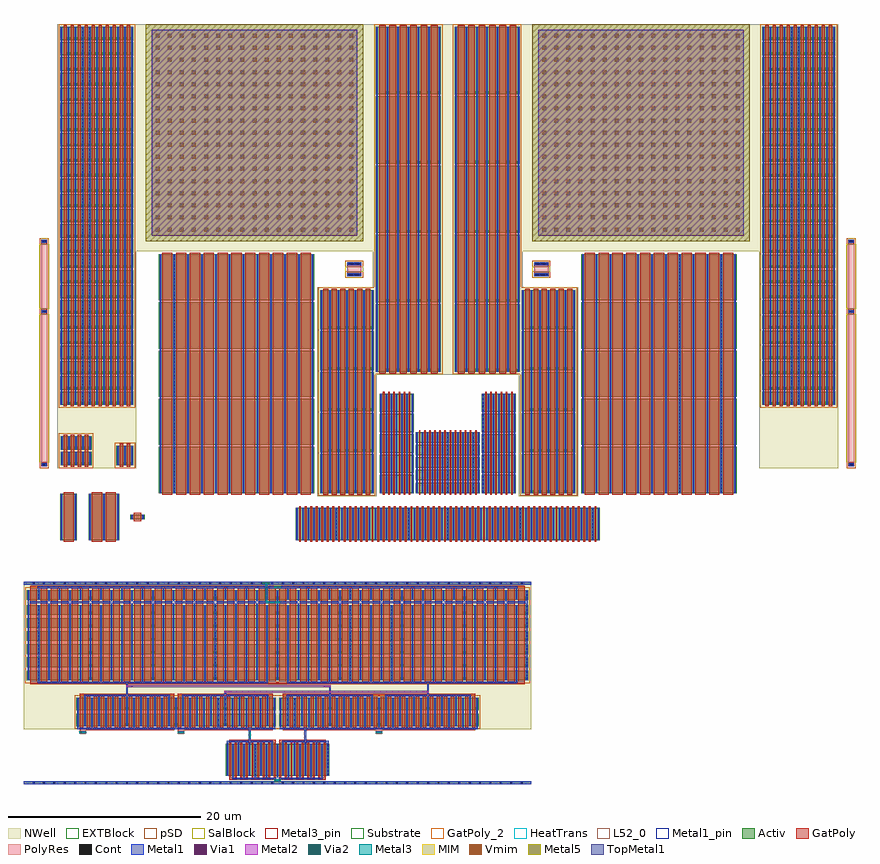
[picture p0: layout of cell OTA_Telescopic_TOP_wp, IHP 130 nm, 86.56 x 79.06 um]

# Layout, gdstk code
import gdstk
lib = gdstk.Library(unit=1e-6, precision=1e-09)
def R(c, l, rs):  # rectangles x0, y0, x1, y1
    for r in rs: c.add(gdstk.rectangle(r[:2], r[2:], *l))
def A(c, l, x, y, w, h, nx, ny, dx, dy):  # array of equal rectangles
    R(c, l, [(x+i*dx, y+j*dy, x+i*dx+w, y+j*dy+h) for i in range(nx) for j in range(ny)])
Activ = (1, 0)
GatPoly = (5, 0)
GatPoly_2 = (5, 2)
Cont = (6, 0)
Metal1 = (8, 0)
Metal1_pin = (8, 2)
Metal2 = (10, 0)
pSD = (14, 0)
Via1 = (19, 0)
SalBlock = (28, 0)
Via2 = (29, 0)
Metal3 = (30, 0)
Metal3_pin = (30, 2)
NWell = (31, 0)
MIM = (36, 0)
Substrate = (40, 0)
HeatTrans = (51, 0)
L52_0 = (52, 0)
Metal5 = (67, 0)
EXTBlock = (111, 0)
TopMetal1 = (126, 0)
PolyRes = (128, 0)
Vmim = (129, 0)

nmos_5 = lib.new_cell('nmos$5')
A(nmos_5, Activ, 0, 0, 0.3, 0.3, 10, 1, 0.58, 0)
R(nmos_5, Activ, [(0,0,5.52,3.33)])
A(nmos_5, GatPoly, 0.34, -0.18, 0.2, 3.69, 9, 1, 0.58, 0)
R(nmos_5, GatPoly_2, [(0.34,-0.18,0.54,3.51)])
A(nmos_5, Cont, 0.07, 0.07, 0.16, 0.16, 10, 2, 0.58, 0.375)
A(nmos_5, Cont, 0.07, 0.825, 0.16, 0.16, 10, 3, 0.58, 0.38)
A(nmos_5, Cont, 0.07, 1.96, 0.16, 0.16, 10, 4, 0.58, 0.38)
A(nmos_5, Metal1, 0.07, 0, 0.16, 3.33, 10, 1, 0.58, 0)
R(nmos_5, Metal1_pin, [(0.07,0,0.23,3.33), (0.65,0,0.81,3.33)])
A(nmos_5, HeatTrans, 0.34, -0.18, 0.2, 3.69, 9, 1, 0.58, 0)
nmos_5.add(gdstk.Label('nmos', (0.44,1.665), layer=63, texttype=0))
nmos_5.add(gdstk.Label('nmos', (0.44,1.665), layer=51, texttype=0))
nmos_5.add(gdstk.Label('nmos', (1.02,1.665), layer=51, texttype=0))
nmos_5.add(gdstk.Label('nmos', (1.6,1.665), layer=51, texttype=0))
nmos_5.add(gdstk.Label('nmos', (2.18,1.665), layer=51, texttype=0))
nmos_5.add(gdstk.Label('nmos', (2.76,1.665), layer=51, texttype=0))
nmos_5.add(gdstk.Label('nmos', (3.34,1.665), layer=51, texttype=0))
nmos_5.add(gdstk.Label('nmos', (3.92,1.665), layer=51, texttype=0))
nmos_5.add(gdstk.Label('nmos', (4.5,1.665), layer=51, texttype=0))
nmos_5.add(gdstk.Label('nmos', (5.08,1.665), layer=51, texttype=0))

c_m0 = lib.new_cell('M0')
r = gdstk.Reference(nmos_5, (-0.44,-0.155)); r.repetition = gdstk.Repetition(6, 1, v1=(5.22,0), v2=(0,0)); c_m0.add(r)

pmos_2 = lib.new_cell('pmos$2')
R(pmos_2, Activ, [(0,0,0.3,0.3), (0,0,1.18,4.05), (0.88,0,1.18,0.3)])
R(pmos_2, GatPoly, [(0.34,-0.18,0.84,4.23), (0.34,-0.18,0.84,4.23)])
A(pmos_2, Cont, 0.07, 0.07, 0.16, 0.16, 1, 6, 0, 0.34)
A(pmos_2, Cont, 0.95, 0.07, 0.16, 0.16, 1, 6, 0, 0.34)
A(pmos_2, Cont, 0.07, 2.115, 0.16, 0.16, 1, 5, 0, 0.34)
A(pmos_2, Cont, 0.95, 2.115, 0.16, 0.16, 1, 5, 0, 0.34)
R(pmos_2, Cont, [(0.07,3.82,0.23,3.98), (0.95,3.82,1.11,3.98)])
R(pmos_2, Metal1, [(0.07,0,0.23,4.05), (0.07,0,0.23,4.05), (0.95,0,1.11,4.05), (0.95,0,1.11,4.05)])
R(pmos_2, pSD, [(-0.18,-0.3,1.36,4.35)])
R(pmos_2, NWell, [(-0.31,-0.31,1.49,4.36)])
R(pmos_2, Substrate, [(0.88,0,1.18,0.3)])
R(pmos_2, HeatTrans, [(0.34,-0.18,0.84,4.23)])
pmos_2.add(gdstk.Label('pmos', (0.59,2.025), layer=63, texttype=0))
pmos_2.add(gdstk.Label('pmos', (0.59,2.025), layer=51, texttype=0))

m1_conm5m6 = lib.new_cell('M1_conM5M6')
R(m1_conm5m6, Metal1, [(0,0,0.16,0.21)])

m5m6 = lib.new_cell('M5M6')
r = gdstk.Reference(pmos_2, (-0.455,-0.12)); r.repetition = gdstk.Repetition(6, 5, v1=(0.88,0), v2=(0,4.26)); m5m6.add(r)
r = gdstk.Reference(m1_conm5m6, (-0.385,3.93)); r.repetition = gdstk.Repetition(7, 4, v1=(0.88,0), v2=(0,4.26)); m5m6.add(r)

pmos_3 = lib.new_cell('pmos$3')
R(pmos_3, Activ, [(0,0,0.3,0.3), (0,0,1.38,7), (1.08,0,1.38,0.3)])
R(pmos_3, GatPoly, [(0.34,-0.18,1.04,7.18), (0.34,-0.18,1.04,7.18)])
A(pmos_3, Cont, 0.07, 6.06, 0.16, 0.16, 1, 3, 0, 0.355)
A(pmos_3, Cont, 1.15, 6.06, 0.16, 0.16, 1, 3, 0, 0.355)
R(pmos_3, Cont, [(0.07,0.07,0.23,0.23), (1.15,0.07,1.31,0.23), (0.07,0.42,0.23,0.58), (1.15,0.42,1.31,0.58), (0.07,0.775,0.23,0.935), (1.15,0.775,1.31,0.935), (0.07,1.125,0.23,1.285), (1.15,1.125,1.31,1.285), (0.07,1.48,0.23,1.64), (1.15,1.48,1.31,1.64), (0.07,1.83,0.23,1.99), (1.15,1.83,1.31,1.99), (0.07,2.185,0.23,2.345), (1.15,2.185,1.31,2.345), (0.07,2.535,0.23,2.695), (1.15,2.535,1.31,2.695), (0.07,2.89,0.23,3.05), (1.15,2.89,1.31,3.05), (0.07,3.24,0.23,3.4), (1.15,3.24,1.31,3.4), (0.07,3.595,0.23,3.755), (1.15,3.595,1.31,3.755), (0.07,3.945,0.23,4.105), (1.15,3.945,1.31,4.105), (0.07,4.3,0.23,4.46), (1.15,4.3,1.31,4.46), (0.07,4.65,0.23,4.81), (1.15,4.65,1.31,4.81), (0.07,5.005,0.23,5.165), (1.15,5.005,1.31,5.165), (0.07,5.355,0.23,5.515), (1.15,5.355,1.31,5.515), (0.07,5.71,0.23,5.87), (1.15,5.71,1.31,5.87)])
R(pmos_3, Metal1, [(0.07,0,0.23,7), (0.07,0,0.23,7), (1.15,0,1.31,7), (1.15,0,1.31,7)])
R(pmos_3, pSD, [(-0.18,-0.3,1.56,7.3)])
R(pmos_3, NWell, [(-0.31,-0.31,1.69,7.31)])
R(pmos_3, Substrate, [(1.08,0,1.38,0.3)])
R(pmos_3, HeatTrans, [(0.34,-0.18,1.04,7.18)])
pmos_3.add(gdstk.Label('pmos', (0.69,3.5), layer=63, texttype=0))
pmos_3.add(gdstk.Label('pmos', (0.69,3.5), layer=51, texttype=0))

m1_conm7m8 = lib.new_cell('M1_conM7M8')
R(m1_conm7m8, Metal1, [(0,0,0.16,0.21)])

m7m8 = lib.new_cell('M7M8')
r = gdstk.Reference(pmos_3, (-0.44,-0.15)); r.repetition = gdstk.Repetition(6, 5, v1=(1.08,0), v2=(0,7.21)); m7m8.add(r)
r = gdstk.Reference(m1_conm7m8, (-0.37,6.85)); r.repetition = gdstk.Repetition(7, 4, v1=(1.08,0), v2=(0,7.21)); m7m8.add(r)

pmos_1_2 = lib.new_cell('pmos$1$2')
R(pmos_1_2, Activ, [(0,0,0.3,0.3), (0,0,1.03,1.37), (0.73,0,1.03,0.3)])
R(pmos_1_2, GatPoly, [(0.34,-0.18,0.69,1.55), (0.34,-0.18,0.69,1.55)])
A(pmos_1_2, Cont, 0.07, 0.07, 0.16, 0.16, 1, 3, 0, 0.355)
A(pmos_1_2, Cont, 0.8, 0.07, 0.16, 0.16, 1, 3, 0, 0.355)
R(pmos_1_2, Cont, [(0.07,1.14,0.23,1.3), (0.8,1.14,0.96,1.3)])
R(pmos_1_2, Metal1, [(0.07,0,0.23,1.37), (0.07,0,0.23,1.37), (0.8,0,0.96,1.37), (0.8,0,0.96,1.37)])
R(pmos_1_2, pSD, [(-0.18,-0.3,1.21,1.67)])
R(pmos_1_2, NWell, [(-0.31,-0.31,1.34,1.68)])
R(pmos_1_2, Substrate, [(0.73,0,1.03,0.3)])
R(pmos_1_2, HeatTrans, [(0.34,-0.18,0.69,1.55)])
pmos_1_2.add(gdstk.Label('pmos', (0.515,0.685), layer=63, texttype=0))
pmos_1_2.add(gdstk.Label('pmos', (0.515,0.685), layer=51, texttype=0))

m1_conm9m10 = lib.new_cell('M1_conM9M10')
R(m1_conm9m10, Metal1, [(0,0,0.16,0.21)])

m9m10 = lib.new_cell('M9M10')
r = gdstk.Reference(pmos_1_2, (-0.455,-0.095)); r.repetition = gdstk.Repetition(10, 25, v1=(0.73,0), v2=(0,1.58)); m9m10.add(r)
r = gdstk.Reference(m1_conm9m10, (-0.385,1.275)); r.repetition = gdstk.Repetition(11, 24, v1=(0.73,0), v2=(0,1.58)); m9m10.add(r)

nmos_3 = lib.new_cell('nmos$3')
R(nmos_3, Activ, [(0,0,0.3,0.3), (0,0,1.74,4.8), (1.44,0,1.74,0.3)])
R(nmos_3, GatPoly, [(0.34,-0.18,1.4,4.98)])
R(nmos_3, GatPoly_2, [(0.34,-0.18,1.4,4.98)])
A(nmos_3, Cont, 0.07, 0.07, 0.16, 0.16, 1, 5, 0, 0.345)
A(nmos_3, Cont, 1.51, 0.07, 0.16, 0.16, 1, 5, 0, 0.345)
A(nmos_3, Cont, 0.07, 1.8, 0.16, 0.16, 1, 4, 0, 0.345)
A(nmos_3, Cont, 1.51, 1.8, 0.16, 0.16, 1, 4, 0, 0.345)
A(nmos_3, Cont, 0.07, 3.185, 0.16, 0.16, 1, 4, 0, 0.345)
A(nmos_3, Cont, 1.51, 3.185, 0.16, 0.16, 1, 4, 0, 0.345)
R(nmos_3, Cont, [(0.07,4.57,0.23,4.73), (1.51,4.57,1.67,4.73)])
R(nmos_3, Metal1, [(0.07,0,0.23,4.8), (1.51,0,1.67,4.8)])
R(nmos_3, Metal1_pin, [(0.07,0,0.23,4.8), (1.51,0,1.67,4.8)])
R(nmos_3, HeatTrans, [(0.34,-0.18,1.4,4.98)])
nmos_3.add(gdstk.Label('nmos', (0.87,2.4), layer=63, texttype=0))
nmos_3.add(gdstk.Label('nmos', (0.87,2.4), layer=51, texttype=0))

m1_conm11m12 = lib.new_cell('M1_conM11M12')
R(m1_conm11m12, Metal1, [(0,0,0.16,0.21)])

m11m12 = lib.new_cell('M11M12')
r = gdstk.Reference(nmos_3, (-0.415,-0.15)); r.repetition = gdstk.Repetition(11, 5, v1=(1.44,0), v2=(0,5.01)); m11m12.add(r)
r = gdstk.Reference(m1_conm11m12, (-0.345,4.65)); r.repetition = gdstk.Repetition(12, 4, v1=(1.44,0), v2=(0,5.01)); m11m12.add(r)

rppd_1_1 = lib.new_cell('rppd$1$1')
R(rppd_1_1, GatPoly, [(0,-0.43,1.5,-0.2), (0,-0.2,1.5,0), (0,0.55,1.5,0.75), (0,0.75,1.5,0.98)])
R(rppd_1_1, Cont, [(0.07,-0.36,1.43,-0.2), (0.07,0.75,1.43,0.91)])
R(rppd_1_1, Metal1, [(0.02,-0.43,1.48,-0.13), (0.02,0.68,1.48,0.98)])
R(rppd_1_1, Metal1_pin, [(0.02,-0.43,1.48,-0.13), (0.02,0.68,1.48,0.98)])
R(rppd_1_1, pSD, [(-0.18,-0.61,1.68,0), (-0.18,0,1.68,0.55), (-0.18,0.55,1.68,1.16)])
R(rppd_1_1, SalBlock, [(-0.2,0,1.7,0.55)])
R(rppd_1_1, L52_0, [(0,0,1.5,0.55)])
R(rppd_1_1, EXTBlock, [(-0.18,-0.61,1.68,0), (-0.2,0,1.7,0.55), (-0.18,0.55,1.68,1.16)])
R(rppd_1_1, PolyRes, [(0,0,1.5,0.55)])
rppd_1_1.add(gdstk.Label('rppd r=141.620', (0.75,0.275), layer=63, texttype=0))
rppd_1_1.add(gdstk.Label('rppd', (0.75,0.275), layer=52, texttype=0))

r1r2 = lib.new_cell('R1R2')
r1r2.add(gdstk.Reference(rppd_1_1, (-0.27,-0.24)))

cmim_1 = lib.new_cell('cmim$1')
R(cmim_1, MIM, [(0,0,21.4,21.4)])
R(cmim_1, Metal5, [(-0.6,-0.6,22,22)])
R(cmim_1, TopMetal1, [(-0.01,-0.01,21.41,21.41)])
A(cmim_1, Vmim, 0.41, 0.41, 0.42, 0.42, 17, 17, 1.26, 1.26)

c1c2 = lib.new_cell('C1C2')
c1c2.add(gdstk.Reference(cmim_1, (-3.32,-3.51)))

m13m14m16 = lib.new_cell('M13M14M16')
m13m14m16.add(gdstk.Reference(nmos_3, (-0.45,-0.145)))

pmos_5 = lib.new_cell('pmos$5')
R(pmos_5, Activ, [(0,0,0.3,0.3), (0,0,1.03,2.05), (0.73,0,1.03,0.3)])
R(pmos_5, GatPoly, [(0.34,-0.18,0.69,2.23), (0.34,-0.18,0.69,2.23)])
A(pmos_5, Cont, 0.07, 0.07, 0.16, 0.16, 1, 6, 0, 0.35)
A(pmos_5, Cont, 0.8, 0.07, 0.16, 0.16, 1, 6, 0, 0.35)
R(pmos_5, Metal1, [(0.07,0,0.23,2.05), (0.07,0,0.23,2.05), (0.8,0,0.96,2.05), (0.8,0,0.96,2.05)])
R(pmos_5, pSD, [(-0.18,-0.3,1.21,2.35)])
R(pmos_5, NWell, [(-0.31,-0.31,1.34,2.36)])
R(pmos_5, Substrate, [(0.73,0,1.03,0.3)])
R(pmos_5, HeatTrans, [(0.34,-0.18,0.69,2.23)])
pmos_5.add(gdstk.Label('pmos', (0.515,1.025), layer=63, texttype=0))
pmos_5.add(gdstk.Label('pmos', (0.515,1.025), layer=51, texttype=0))

m17m18 = lib.new_cell('M17M18')
m17m18.add(gdstk.Reference(pmos_5, (-0.44,-0.145)))

nmos_4 = lib.new_cell('nmos$4')
R(nmos_4, Activ, [(0,0,0.3,0.3), (0,0,1.48,0.5), (1.18,0,1.48,0.3)])
R(nmos_4, GatPoly, [(0.34,-0.18,1.14,0.68)])
R(nmos_4, GatPoly_2, [(0.34,-0.18,1.14,0.68)])
R(nmos_4, Cont, [(0.07,0.17,0.23,0.33), (1.25,0.17,1.41,0.33)])
R(nmos_4, Metal1, [(0.07,0,0.23,0.5), (1.25,0,1.41,0.5)])
R(nmos_4, Metal1_pin, [(0.07,0,0.23,0.5), (1.25,0,1.41,0.5)])
R(nmos_4, HeatTrans, [(0.34,-0.18,1.14,0.68)])
nmos_4.add(gdstk.Label('nmos', (0.74,0.25), layer=63, texttype=0))
nmos_4.add(gdstk.Label('nmos', (0.74,0.25), layer=51, texttype=0))

m19 = lib.new_cell('M19')
m19.add(gdstk.Reference(nmos_4, (-0.435,-0.15)))

nmos_1_2 = lib.new_cell('nmos$1$2')
R(nmos_1_2, Activ, [(0,0,0.3,0.3), (0,0,0.83,1.1), (0.53,0,0.83,0.3)])
R(nmos_1_2, GatPoly, [(0.34,-0.18,0.49,1.28)])
R(nmos_1_2, GatPoly_2, [(0.34,-0.18,0.49,1.28)])
A(nmos_1_2, Cont, 0.07, 0.07, 0.16, 0.16, 1, 3, 0, 0.4)
A(nmos_1_2, Cont, 0.6, 0.07, 0.16, 0.16, 1, 3, 0, 0.4)
R(nmos_1_2, Metal1, [(0.07,0,0.23,1.1), (0.6,0,0.76,1.1)])
R(nmos_1_2, Metal1_pin, [(0.07,0,0.23,1.1), (0.6,0,0.76,1.1)])
R(nmos_1_2, HeatTrans, [(0.34,-0.18,0.49,1.28)])
nmos_1_2.add(gdstk.Label('nmos', (0.415,0.55), layer=63, texttype=0))
nmos_1_2.add(gdstk.Label('nmos', (0.415,0.55), layer=51, texttype=0))

m1_conm1m2 = lib.new_cell('M1_conM1M2')
R(m1_conm1m2, Metal1, [(0,0,0.16,0.21)])

m1m2 = lib.new_cell('M1M2')
r = gdstk.Reference(nmos_1_2, (-0.425,-0.13)); r.repetition = gdstk.Repetition(6, 5, v1=(0.53,0), v2=(0,1.31)); m1m2.add(r)
r = gdstk.Reference(m1_conm1m2, (-0.355,0.97)); r.repetition = gdstk.Repetition(7, 4, v1=(0.53,0), v2=(0,1.31)); m1m2.add(r)

nmos_2_1 = lib.new_cell('nmos$2$1')
R(nmos_2_1, Activ, [(0,0,0.3,0.3), (0,0,0.84,1.9), (0.54,0,0.84,0.3)])
R(nmos_2_1, GatPoly, [(0.34,-0.18,0.5,2.08)])
R(nmos_2_1, GatPoly_2, [(0.34,-0.18,0.5,2.08)])
A(nmos_2_1, Cont, 0.07, 0.07, 0.16, 0.16, 1, 5, 0, 0.4)
A(nmos_2_1, Cont, 0.61, 0.07, 0.16, 0.16, 1, 5, 0, 0.4)
R(nmos_2_1, Metal1, [(0.07,0,0.23,1.9), (0.61,0,0.77,1.9)])
R(nmos_2_1, Metal1_pin, [(0.07,0,0.23,1.9), (0.61,0,0.77,1.9)])
R(nmos_2_1, HeatTrans, [(0.34,-0.18,0.5,2.08)])
nmos_2_1.add(gdstk.Label('nmos', (0.42,0.95), layer=63, texttype=0))
nmos_2_1.add(gdstk.Label('nmos', (0.42,0.95), layer=51, texttype=0))

m1_conm3m4 = lib.new_cell('M1_conM3M4')
R(m1_conm3m4, Metal1, [(0,0,0.16,0.21)])

m3m4 = lib.new_cell('M3M4')
r = gdstk.Reference(nmos_2_1, (-0.395,-0.12)); r.repetition = gdstk.Repetition(6, 5, v1=(0.54,0), v2=(0,2.11)); m3m4.add(r)
r = gdstk.Reference(m1_conm3m4, (-0.325,1.78)); r.repetition = gdstk.Repetition(7, 4, v1=(0.54,0), v2=(0,2.11)); m3m4.add(r)

pmos_4 = lib.new_cell('pmos$4')
R(pmos_4, Activ, [(0,0,0.3,0.3), (0,0,1.03,1.4), (0.73,0,1.03,0.3)])
R(pmos_4, GatPoly, [(0.34,-0.18,0.69,1.58), (0.34,-0.18,0.69,1.58)])
A(pmos_4, Cont, 0.07, 0.07, 0.16, 0.16, 1, 3, 0, 0.365)
A(pmos_4, Cont, 0.8, 0.07, 0.16, 0.16, 1, 3, 0, 0.365)
R(pmos_4, Cont, [(0.07,1.17,0.23,1.33), (0.8,1.17,0.96,1.33)])
R(pmos_4, Metal1, [(0.07,0,0.23,1.4), (0.07,0,0.23,1.4), (0.8,0,0.96,1.4), (0.8,0,0.96,1.4)])
R(pmos_4, pSD, [(-0.18,-0.3,1.21,1.7)])
R(pmos_4, NWell, [(-0.31,-0.31,1.34,1.71)])
R(pmos_4, Substrate, [(0.73,0,1.03,0.3)])
R(pmos_4, HeatTrans, [(0.34,-0.18,0.69,1.58)])
pmos_4.add(gdstk.Label('pmos', (0.515,0.7), layer=63, texttype=0))
pmos_4.add(gdstk.Label('pmos', (0.515,0.7), layer=51, texttype=0))

m15 = lib.new_cell('M15')
r = gdstk.Reference(pmos_4, (-0.455,-0.14)); r.repetition = gdstk.Repetition(4, 2, v1=(0.73,0), v2=(0,1.61)); m15.add(r)

ota_telescopic_core = lib.new_cell('OTA_Telescopic_core')
R(ota_telescopic_core, NWell, [(-21.755,8.035,-13.535,14.33), (51.265,8.035,59.485,14.33), (18.465,17.78,19.265,30.595), (-13.535,30.595,51.265,54.24)])
ota_telescopic_core.add(gdstk.Reference(c_m0, (3.495,0.72)))
ota_telescopic_core.add(gdstk.Reference(m5m6, (27.02,5.565)))
ota_telescopic_core.add(gdstk.Reference(m7m8, (20.015,18.24)))
ota_telescopic_core.add(gdstk.Reference(m9m10, (-20.99,14.735)))
ota_telescopic_core.add(gdstk.Reference(m9m10, (52.03,14.735)))
ota_telescopic_core.add(gdstk.Reference(m11m12, (-10.76,5.595)))
ota_telescopic_core.add(gdstk.Reference(m11m12, (33.18,5.595)))
ota_telescopic_core.add(gdstk.Reference(r1r2, (28.115,28.695)))
ota_telescopic_core.add(gdstk.Reference(c1c2, (-8.615,35.75)))
ota_telescopic_core.add(gdstk.Reference(c1c2, (31.585,35.75)))
ota_telescopic_core.add(gdstk.Reference(r1r2, (8.655,28.695)))
ota_telescopic_core.add(gdstk.Reference(m13m14m16, (-20.995,0.71)))
ota_telescopic_core.add(gdstk.Reference(m17m18, (-14.435,8.49)))
ota_telescopic_core.add(gdstk.Reference(m17m18, (-15.165,8.49)))
ota_telescopic_core.add(gdstk.Reference(m19, (-13.71,2.865)))
ota_telescopic_core.add(gdstk.Reference(m1m2, (15.96,5.575)))
ota_telescopic_core.add(gdstk.Reference(m1m2, (19.14,5.575)))
ota_telescopic_core.add(gdstk.Reference(m3m4, (12.18,5.565)))
ota_telescopic_core.add(gdstk.Reference(m3m4, (22.8,5.565)))
ota_telescopic_core.add(gdstk.Reference(m5m6, (6.04,5.565)))
ota_telescopic_core.add(gdstk.Reference(m7m8, (11.815,18.24)))
ota_telescopic_core.add(gdstk.Reference(m15, (-20.95,8.485)))
ota_telescopic_core.add(gdstk.Reference(m13m14m16, (-16.595,0.71)))
ota_telescopic_core.add(gdstk.Reference(m13m14m16, (-18.035,0.71)))

ota_core = lib.new_cell('OTA_core')
ota_core.add(gdstk.Reference(ota_telescopic_core, (0,0)))

rppd_2 = lib.new_cell('rppd$2')
R(rppd_2, GatPoly, [(0,-0.43,0.6,-0.2), (0,-0.2,0.6,0), (0,15.4,0.6,15.6), (0,15.6,0.6,15.83)])
R(rppd_2, Cont, [(0.07,-0.36,0.53,-0.2), (0.07,15.6,0.53,15.76)])
R(rppd_2, Metal1, [(0.02,-0.43,0.58,-0.13), (0.02,15.53,0.58,15.83)])
R(rppd_2, Metal1_pin, [(0.02,-0.43,0.58,-0.13), (0.02,15.53,0.58,15.83)])
R(rppd_2, pSD, [(-0.18,-0.61,0.78,0), (-0.18,0,0.78,15.4), (-0.18,15.4,0.78,16.01)])
R(rppd_2, SalBlock, [(-0.2,0,0.8,15.4)])
R(rppd_2, L52_0, [(0,0,0.6,15.4)])
R(rppd_2, EXTBlock, [(-0.18,-0.61,0.78,0), (-0.2,0,0.8,15.4), (-0.18,15.4,0.78,16.01)])
R(rppd_2, PolyRes, [(0,0,0.6,15.4)])
rppd_2.add(gdstk.Label('rppd r=6723.927', (0.3,7.7), layer=63, texttype=0))
rppd_2.add(gdstk.Label('rppd', (0.3,7.7), layer=52, texttype=0))

c_r2 = lib.new_cell('R2')
c_r2.add(gdstk.Reference(rppd_2, (-0.045,-0.07)))

rppd_3 = lib.new_cell('rppd$3')
R(rppd_3, GatPoly, [(0,-0.43,0.6,-0.2), (0,-0.2,0.6,0), (0,6.73,0.6,6.93), (0,6.93,0.6,7.16)])
R(rppd_3, Cont, [(0.07,-0.36,0.53,-0.2), (0.07,6.93,0.53,7.09)])
R(rppd_3, Metal1, [(0.02,-0.43,0.58,-0.13), (0.02,6.86,0.58,7.16)])
R(rppd_3, Metal1_pin, [(0.02,-0.43,0.58,-0.13), (0.02,6.86,0.58,7.16)])
R(rppd_3, pSD, [(-0.18,-0.61,0.78,0), (-0.18,0,0.78,6.73), (-0.18,6.73,0.78,7.34)])
R(rppd_3, SalBlock, [(-0.2,0,0.8,6.73)])
R(rppd_3, L52_0, [(0,0,0.6,6.73)])
R(rppd_3, EXTBlock, [(-0.18,-0.61,0.78,0), (-0.2,0,0.8,6.73), (-0.18,6.73,0.78,7.34)])
R(rppd_3, PolyRes, [(0,0,0.6,6.73)])
rppd_3.add(gdstk.Label('rppd r=3004.125', (0.3,3.365), layer=63, texttype=0))
rppd_3.add(gdstk.Label('rppd', (0.3,3.365), layer=52, texttype=0))

c_r1 = lib.new_cell('R1')
c_r1.add(gdstk.Reference(rppd_3, (-0.12,-0.16)))

ota_telescopic_fb = lib.new_cell('OTA_Telescopic_FB')
ota_telescopic_fb.add(gdstk.Reference(ota_core, (33.665,13.91)))
ota_telescopic_fb.add(gdstk.Reference(c_r2, (10.305,22.635)))
ota_telescopic_fb.add(gdstk.Reference(c_r2, (94.245,22.635)))
ota_telescopic_fb.add(gdstk.Reference(c_r1, (10.38,38.685)))
ota_telescopic_fb.add(gdstk.Reference(c_r1, (94.32,38.685)))

ota_fb = lib.new_cell('OTA_FB')
ota_fb.add(gdstk.Reference(ota_telescopic_fb, (0,0)))

pmos_1 = lib.new_cell('pmos$1')
A(pmos_1, Activ, 0, 0, 0.3, 0.3, 8, 1, 0.73, 0)
R(pmos_1, Activ, [(0,0,5.41,1.285)])
A(pmos_1, GatPoly, 0.34, -0.18, 0.35, 1.645, 7, 1, 0.73, 0)
R(pmos_1, GatPoly, [(0.34,-0.18,0.69,1.465)])
A(pmos_1, Cont, 0.07, 0.07, 0.16, 0.16, 8, 2, 0.73, 0.49)
A(pmos_1, Cont, 0.07, 1.055, 0.16, 0.16, 8, 1, 0.73, 0)
A(pmos_1, Metal1, 0.8, 0, 0.16, 1.285, 7, 1, 0.73, 0)
R(pmos_1, Metal1, [(0.07,0,0.23,1.285), (0.07,0,0.23,1.285), (0.8,0,0.96,1.285)])
R(pmos_1, pSD, [(-0.18,-0.3,5.59,1.585)])
R(pmos_1, NWell, [(-0.31,-0.31,5.72,1.595)])
R(pmos_1, Substrate, [(5.11,0,5.41,0.3)])
A(pmos_1, HeatTrans, 0.34, -0.18, 0.35, 1.645, 7, 1, 0.73, 0)
pmos_1.add(gdstk.Label('pmos', (0.515,0.643), layer=63, texttype=0))
pmos_1.add(gdstk.Label('pmos', (0.515,0.643), layer=51, texttype=0))
pmos_1.add(gdstk.Label('pmos', (1.245,0.643), layer=51, texttype=0))
pmos_1.add(gdstk.Label('pmos', (1.975,0.643), layer=51, texttype=0))
pmos_1.add(gdstk.Label('pmos', (2.705,0.643), layer=51, texttype=0))
pmos_1.add(gdstk.Label('pmos', (3.435,0.643), layer=51, texttype=0))
pmos_1.add(gdstk.Label('pmos', (4.165,0.643), layer=51, texttype=0))
pmos_1.add(gdstk.Label('pmos', (4.895,0.643), layer=51, texttype=0))

nmos = lib.new_cell('nmos')
A(nmos, Activ, 0, 0, 0.3, 0.3, 10, 1, 0.58, 0)
R(nmos, Activ, [(0,0,5.52,3.33)])
A(nmos, GatPoly, 0.34, -0.18, 0.2, 3.69, 9, 1, 0.58, 0)
R(nmos, GatPoly_2, [(0.34,-0.18,0.54,3.51)])
A(nmos, Cont, 0.07, 0.07, 0.16, 0.16, 10, 2, 0.58, 0.375)
A(nmos, Cont, 0.07, 0.825, 0.16, 0.16, 10, 3, 0.58, 0.38)
A(nmos, Cont, 0.07, 1.96, 0.16, 0.16, 10, 4, 0.58, 0.38)
A(nmos, Metal1, 0.07, 0, 0.16, 3.33, 10, 1, 0.58, 0)
R(nmos, Metal1_pin, [(0.07,0,0.23,3.33), (0.65,0,0.81,3.33)])
A(nmos, HeatTrans, 0.34, -0.18, 0.2, 3.69, 9, 1, 0.58, 0)
nmos.add(gdstk.Label('nmos', (0.44,1.665), layer=63, texttype=0))
nmos.add(gdstk.Label('nmos', (0.44,1.665), layer=51, texttype=0))
nmos.add(gdstk.Label('nmos', (1.02,1.665), layer=51, texttype=0))
nmos.add(gdstk.Label('nmos', (1.6,1.665), layer=51, texttype=0))
nmos.add(gdstk.Label('nmos', (2.18,1.665), layer=51, texttype=0))
nmos.add(gdstk.Label('nmos', (2.76,1.665), layer=51, texttype=0))
nmos.add(gdstk.Label('nmos', (3.34,1.665), layer=51, texttype=0))
nmos.add(gdstk.Label('nmos', (3.92,1.665), layer=51, texttype=0))
nmos.add(gdstk.Label('nmos', (4.5,1.665), layer=51, texttype=0))
nmos.add(gdstk.Label('nmos', (5.08,1.665), layer=51, texttype=0))

pmos = lib.new_cell('pmos')
A(pmos, Activ, 0, 0, 0.3, 0.3, 7, 1, 1.08, 0)
R(pmos, Activ, [(0,0,6.78,1)])
A(pmos, GatPoly, 0.34, -0.18, 0.7, 1.36, 6, 1, 1.08, 0)
R(pmos, GatPoly, [(0.34,-0.18,1.04,1.18)])
A(pmos, Cont, 0.07, 0.07, 0.16, 0.16, 7, 3, 1.08, 0.35)
A(pmos, Metal1, 1.15, 0, 0.16, 1, 6, 1, 1.08, 0)
R(pmos, Metal1, [(0.07,0,0.23,1), (0.07,0,0.23,1), (1.15,0,1.31,1)])
R(pmos, pSD, [(-0.18,-0.3,6.96,1.3)])
R(pmos, NWell, [(-0.31,-0.31,7.09,1.31)])
R(pmos, Substrate, [(6.48,0,6.78,0.3)])
A(pmos, HeatTrans, 0.34, -0.18, 0.7, 1.36, 6, 1, 1.08, 0)
pmos.add(gdstk.Label('pmos', (0.69,0.5), layer=63, texttype=0))
pmos.add(gdstk.Label('pmos', (0.69,0.5), layer=51, texttype=0))
pmos.add(gdstk.Label('pmos', (1.77,0.5), layer=51, texttype=0))
pmos.add(gdstk.Label('pmos', (2.85,0.5), layer=51, texttype=0))
pmos.add(gdstk.Label('pmos', (3.93,0.5), layer=51, texttype=0))
pmos.add(gdstk.Label('pmos', (5.01,0.5), layer=51, texttype=0))
pmos.add(gdstk.Label('pmos', (6.09,0.5), layer=51, texttype=0))

m1_bar2 = lib.new_cell('M1_Bar2')
R(m1_bar2, Metal1, [(-0.078,-4.355,0.082,4.805)])

m1_routings2 = lib.new_cell('M1_Routings2')
r = gdstk.Reference(m1_bar2, (-0.007,-0.05)); r.repetition = gdstk.Repetition(25, 1, v1=(2.16,0), v2=(0,0)); m1_routings2.add(r)

m1_bar3 = lib.new_cell('M1_Bar3')
R(m1_bar3, Metal1, [(-0.05,-0.1,0.11,0.08)])

m1_routings3 = lib.new_cell('M1_Routings3')
r = gdstk.Reference(m1_bar3, (0.025,-0.245)); r.repetition = gdstk.Repetition(24, 1, v1=(2.16,0), v2=(0,0)); m1_routings3.add(r)

m1_routings6 = lib.new_cell('M1_Routings6')
r = gdstk.Reference(m1_bar3, (-0.035,0.04)); r.repetition = gdstk.Repetition(5, 1, v1=(1.16,0), v2=(0,0)); m1_routings6.add(r)

poly_bar1 = lib.new_cell('Poly_Bar1')
R(poly_bar1, GatPoly, [(-0.368,-0.085,0.332,0.125)])

poly_routings1 = lib.new_cell('Poly_Routings1')
r = gdstk.Reference(poly_bar1, (0,0)); r.repetition = gdstk.Repetition(48, 1, v1=(1.08,0), v2=(0,0)); poly_routings1.add(r)

via_stack_4 = lib.new_cell('via_stack$4')
R(via_stack_4, GatPoly, [(-0.32,-0.15,0.32,0.15)])
R(via_stack_4, Cont, [(-0.25,-0.08,-0.09,0.08), (0.09,-0.08,0.25,0.08)])
R(via_stack_4, Metal1, [(-0.35,-0.105,0.35,0.105)])
R(via_stack_4, Metal2, [(-0.35,-0.1,0.35,0.1)])
R(via_stack_4, Via1, [(-0.3,-0.095,-0.11,0.095), (0.11,-0.095,0.3,0.095)])
R(via_stack_4, Via2, [(-0.3,-0.095,-0.11,0.095), (0.11,-0.095,0.3,0.095)])
R(via_stack_4, Metal3, [(-0.35,-0.1,0.35,0.1)])

via_stack_7 = lib.new_cell('via_stack$7')
R(via_stack_7, Metal1, [(-0.35,-0.105,0.35,0.105)])
R(via_stack_7, Metal2, [(-0.35,-0.1,0.35,0.1)])
R(via_stack_7, Via1, [(-0.3,-0.095,-0.11,0.095), (0.11,-0.095,0.3,0.095)])
R(via_stack_7, Via2, [(-0.3,-0.095,-0.11,0.095), (0.11,-0.095,0.3,0.095)])
R(via_stack_7, Metal3, [(-0.35,-0.1,0.35,0.1)])

m1_cont1 = lib.new_cell('M1_Cont1')
R(m1_cont1, Cont, [(-0.09,-0.105,0.11,0.095)])

m1_bulkcont1 = lib.new_cell('M1_BulkCont1')
r = gdstk.Reference(m1_cont1, (0.005,0.01)); r.repetition = gdstk.Repetition(48, 1, v1=(1.08,0), v2=(0,0)); m1_bulkcont1.add(r)

m1_bar1 = lib.new_cell('M1_Bar1')
R(m1_bar1, Metal1, [(-0.078,-3.765,0.082,4.215)])

m1_routings1 = lib.new_cell('M1_Routings1')
r = gdstk.Reference(m1_bar1, (0,-0.155)); r.repetition = gdstk.Repetition(12, 1, v1=(2.16,0), v2=(0,0)); m1_routings1.add(r)

via_stack_2 = lib.new_cell('via_stack$2')
R(via_stack_2, GatPoly, [(-0.32,-0.15,0.32,0.15)])
R(via_stack_2, Cont, [(-0.25,-0.08,-0.09,0.08), (0.09,-0.08,0.25,0.08)])
R(via_stack_2, Metal1, [(-0.3,-0.08,0.3,0.08)])

m1_bar4 = lib.new_cell('M1_Bar4')
R(m1_bar4, Metal1, [(-0.073,-1.5,0.087,1.61)])

m1_routings4 = lib.new_cell('M1_Routings4')
r = gdstk.Reference(m1_bar4, (0,0.02)); r.repetition = gdstk.Repetition(8, 1, v1=(1.46,0), v2=(0,0)); m1_routings4.add(r)

m1_routings5 = lib.new_cell('M1_Routings5')
r = gdstk.Reference(m1_bar4, (0,0.01)); r.repetition = gdstk.Repetition(7, 1, v1=(1.46,0), v2=(0,0)); m1_routings5.add(r)

via_stack = lib.new_cell('via_stack')
R(via_stack, Metal1, [(-0.35,-0.105,0.35,0.105)])
R(via_stack, Metal2, [(-0.35,-0.1,0.35,0.1)])
R(via_stack, Via1, [(-0.3,-0.095,-0.11,0.095), (0.11,-0.095,0.3,0.095)])

via_stack_6 = lib.new_cell('via_stack$6')
R(via_stack_6, Metal1, [(-0.105,-0.35,0.105,0.35)])
R(via_stack_6, Metal2, [(-0.1,-0.35,0.1,0.35)])
R(via_stack_6, Via1, [(-0.095,-0.3,0.095,-0.11), (-0.095,0.11,0.095,0.3)])
R(via_stack_6, Via2, [(-0.095,-0.3,0.095,-0.11), (-0.095,0.11,0.095,0.3)])
R(via_stack_6, Metal3, [(-0.1,-0.35,0.1,0.35)])

ota_telescopic_cmfb = lib.new_cell('OTA_Telescopic_CMFB')
R(ota_telescopic_cmfb, Activ, [(7.8,-0.85,60.56,-0.55), (7.8,-0.85,60.56,-0.55), (7.8,19.89,60.56,20.19)])
R(ota_telescopic_cmfb, GatPoly, [(29.15,-0.41,33.99,-0.18), (34.37,-0.41,39.21,-0.18), (29.15,3.51,33.99,3.74), (34.37,3.51,39.21,3.74), (13.6,4.7,14.24,4.765), (23.82,4.7,24.46,4.765), (44.41,4.7,45.05,4.765), (13.6,4.765,23.44,4.995), (23.82,4.765,33.66,4.995), (34.7,4.765,54.76,4.995), (13.6,8.285,23.44,8.515), (23.82,8.285,33.66,8.515), (34.7,8.285,54.76,8.515), (8.45,9.54,59.91,9.77), (8.45,19.5,33.86,19.755), (34.5,19.5,59.91,19.755)])
R(ota_telescopic_cmfb, Metal1, [(7.8,-0.85,60.56,-0.55), (29.46,-0.34,38.9,-0.18), (28.88,3.51,33.68,3.67), (34.68,3.51,39.48,3.67), (36.975,3.669,37.185,4.835), (31.175,3.67,31.385,4.836), (13.33,4.835,33.93,4.995), (34.43,4.835,55.03,4.995), (14.06,8.285,22.98,8.445), (24.28,8.285,33.2,8.445), (35.16,8.285,44.08,8.445), (45.38,8.285,54.3,8.445), (18.44,8.445,18.6,9.27), (28.66,8.445,28.82,8.625), (39.54,8.445,39.7,9.27), (49.76,8.445,49.92,8.625), (49.76,8.785,49.92,9.61), (18.44,9.43,18.6,9.61), (9.26,9.61,33.18,9.77), (35.18,9.61,59.1,9.77), (8.18,17.93,60.18,18.14), (9.26,19.5,59.1,19.71), (7.8,19.89,60.56,20.19)])
R(ota_telescopic_cmfb, Metal1_pin, [(7.8,-0.85,60.56,-0.55), (7.8,19.89,60.56,20.19)])
R(ota_telescopic_cmfb, Metal2, [(28.84,8.63,49.74,8.83), (18.62,9.225,39.52,9.425)])
R(ota_telescopic_cmfb, pSD, [(7.8,-0.85,60.56,-0.55)])
R(ota_telescopic_cmfb, Metal3, [(32.903,17.935,33.83,18.135), (32.903,17.935,33.103,19.94)])
R(ota_telescopic_cmfb, Metal3_pin, [(33.83,-0.545,34.53,-0.345), (33.83,-0.545,34.53,-0.345), (31.18,3.9,31.38,4.6), (13.57,4.45,14.27,4.65), (23.79,4.45,24.49,4.65), (44.38,4.45,45.08,4.65), (33.83,17.935,34.53,18.135), (33.83,19.505,34.53,19.705)])
R(ota_telescopic_cmfb, NWell, [(7.8,4.865,12.95,9.64), (55.41,4.865,60.56,9.64), (12.95,8.415,55.41,9.64), (7.8,19.63,60.56,20.19)])
ota_telescopic_cmfb.add(gdstk.Reference(pmos_1, (28.59,5.175)))
ota_telescopic_cmfb.add(gdstk.Reference(nmos, (28.81,0)))
ota_telescopic_cmfb.add(gdstk.Reference(nmos, (34.03,0)))
ota_telescopic_cmfb.add(gdstk.Reference(pmos_1, (34.36,6.82)))
ota_telescopic_cmfb.add(gdstk.Reference(pmos_1, (28.59,6.82)))
ota_telescopic_cmfb.add(gdstk.Reference(pmos_1, (34.36,5.175)))
ota_telescopic_cmfb.add(gdstk.Reference(pmos, (34.03,9.95)))
ota_telescopic_cmfb.add(gdstk.Reference(pmos, (34.03,12.67)))
ota_telescopic_cmfb.add(gdstk.Reference(pmos, (34.03,15.39)))
ota_telescopic_cmfb.add(gdstk.Reference(pmos, (34.03,11.31)))
ota_telescopic_cmfb.add(gdstk.Reference(pmos, (34.03,14.03)))
ota_telescopic_cmfb.add(gdstk.Reference(pmos, (34.03,16.75)))
ota_telescopic_cmfb.add(gdstk.Reference(pmos, (27.55,15.39)))
ota_telescopic_cmfb.add(gdstk.Reference(pmos, (27.55,9.95)))
ota_telescopic_cmfb.add(gdstk.Reference(pmos, (27.55,12.67)))
ota_telescopic_cmfb.add(gdstk.Reference(pmos, (27.55,16.75)))
ota_telescopic_cmfb.add(gdstk.Reference(pmos, (27.55,11.31)))
ota_telescopic_cmfb.add(gdstk.Reference(pmos, (27.55,14.03)))
ota_telescopic_cmfb.add(gdstk.Reference(m1_routings2, (8.265,14.355)))
ota_telescopic_cmfb.add(gdstk.Reference(pmos, (27.55,18.32)))
ota_telescopic_cmfb.add(gdstk.Reference(pmos, (34.03,18.32)))
ota_telescopic_cmfb.add(gdstk.Reference(m1_routings3, (9.285,19.665)))
ota_telescopic_cmfb.add(gdstk.Reference(m1_routings6, (29.545,-0.12)))
ota_telescopic_cmfb.add(gdstk.Reference(m1_routings6, (34.185,-0.12)))
ota_telescopic_cmfb.add(gdstk.Reference(poly_routings1, (8.818,18.015)))
ota_telescopic_cmfb.add(gdstk.Reference(via_stack_4, (34.18,19.605)))
ota_telescopic_cmfb.add(gdstk.Reference(via_stack_7, (34.18,-0.445)))
ota_telescopic_cmfb.add(gdstk.Reference(via_stack_7, (34.18,18.035)))
ota_telescopic_cmfb.add(gdstk.Reference(pmos, (46.99,9.95)))
ota_telescopic_cmfb.add(gdstk.Reference(pmos, (53.47,9.95)))
ota_telescopic_cmfb.add(gdstk.Reference(pmos, (40.51,9.95)))
ota_telescopic_cmfb.add(gdstk.Reference(pmos, (14.59,9.95)))
ota_telescopic_cmfb.add(gdstk.Reference(pmos, (8.11,9.95)))
ota_telescopic_cmfb.add(gdstk.Reference(pmos, (21.07,9.95)))
ota_telescopic_cmfb.add(gdstk.Reference(m1_bulkcont1, (8.785,20.035)))
ota_telescopic_cmfb.add(gdstk.Reference(m1_bulkcont1, (8.785,-0.705)))
ota_telescopic_cmfb.add(gdstk.Reference(m1_routings1, (35.258,13.69)))
ota_telescopic_cmfb.add(gdstk.Reference(pmos, (40.51,18.32)))
ota_telescopic_cmfb.add(gdstk.Reference(pmos, (53.47,11.31)))
ota_telescopic_cmfb.add(gdstk.Reference(pmos, (53.47,18.32)))
ota_telescopic_cmfb.add(gdstk.Reference(pmos, (46.99,18.32)))
ota_telescopic_cmfb.add(gdstk.Reference(pmos, (40.51,15.39)))
ota_telescopic_cmfb.add(gdstk.Reference(pmos, (46.99,15.39)))
ota_telescopic_cmfb.add(gdstk.Reference(pmos, (53.47,15.39)))
ota_telescopic_cmfb.add(gdstk.Reference(pmos, (40.51,12.67)))
ota_telescopic_cmfb.add(gdstk.Reference(pmos, (46.99,12.67)))
ota_telescopic_cmfb.add(gdstk.Reference(pmos, (53.47,12.67)))
ota_telescopic_cmfb.add(gdstk.Reference(pmos, (46.99,16.75)))
ota_telescopic_cmfb.add(gdstk.Reference(pmos, (53.47,16.75)))
ota_telescopic_cmfb.add(gdstk.Reference(pmos, (40.51,14.03)))
ota_telescopic_cmfb.add(gdstk.Reference(pmos, (46.99,14.03)))
ota_telescopic_cmfb.add(gdstk.Reference(pmos, (53.47,14.03)))
ota_telescopic_cmfb.add(gdstk.Reference(pmos, (40.51,11.31)))
ota_telescopic_cmfb.add(gdstk.Reference(pmos, (40.51,16.75)))
ota_telescopic_cmfb.add(gdstk.Reference(pmos, (46.99,11.31)))
ota_telescopic_cmfb.add(gdstk.Reference(pmos, (21.07,18.32)))
ota_telescopic_cmfb.add(gdstk.Reference(pmos, (14.59,15.39)))
ota_telescopic_cmfb.add(gdstk.Reference(pmos, (8.11,18.32)))
ota_telescopic_cmfb.add(gdstk.Reference(pmos, (14.59,18.32)))
ota_telescopic_cmfb.add(gdstk.Reference(pmos, (21.07,12.67)))
ota_telescopic_cmfb.add(gdstk.Reference(pmos, (14.59,12.67)))
ota_telescopic_cmfb.add(gdstk.Reference(pmos, (8.11,12.67)))
ota_telescopic_cmfb.add(gdstk.Reference(pmos, (8.11,15.39)))
ota_telescopic_cmfb.add(gdstk.Reference(pmos, (21.07,16.75)))
ota_telescopic_cmfb.add(gdstk.Reference(pmos, (14.59,16.75)))
ota_telescopic_cmfb.add(gdstk.Reference(pmos, (21.07,15.39)))
ota_telescopic_cmfb.add(gdstk.Reference(pmos, (21.07,11.31)))
ota_telescopic_cmfb.add(gdstk.Reference(pmos, (8.11,16.75)))
ota_telescopic_cmfb.add(gdstk.Reference(pmos, (14.59,11.31)))
ota_telescopic_cmfb.add(gdstk.Reference(pmos, (8.11,11.31)))
ota_telescopic_cmfb.add(gdstk.Reference(pmos, (21.07,14.03)))
ota_telescopic_cmfb.add(gdstk.Reference(pmos, (14.59,14.03)))
ota_telescopic_cmfb.add(gdstk.Reference(pmos, (8.11,14.03)))
ota_telescopic_cmfb.add(gdstk.Reference(via_stack_7, (33.005,20.04)))
ota_telescopic_cmfb.add(gdstk.Reference(m1_routings1, (9.338,13.69)))
ota_telescopic_cmfb.add(gdstk.Reference(via_stack_2, (31.28,3.59)))
ota_telescopic_cmfb.add(gdstk.Reference(m1_routings4, (23.623,6.475)))
ota_telescopic_cmfb.add(gdstk.Reference(m1_routings5, (24.353,6.665)))
ota_telescopic_cmfb.add(gdstk.Reference(m1_routings4, (13.403,6.475)))
ota_telescopic_cmfb.add(gdstk.Reference(m1_routings5, (14.133,6.665)))
ota_telescopic_cmfb.add(gdstk.Reference(via_stack, (29.01,8.73)))
ota_telescopic_cmfb.add(gdstk.Reference(via_stack, (18.79,9.325)))
ota_telescopic_cmfb.add(gdstk.Reference(via_stack_4, (13.92,4.55)))
ota_telescopic_cmfb.add(gdstk.Reference(via_stack_4, (24.14,4.55)))
ota_telescopic_cmfb.add(gdstk.Reference(via_stack_6, (31.28,4.25)))
ota_telescopic_cmfb.add(gdstk.Reference(pmos_1, (23.48,5.175)))
ota_telescopic_cmfb.add(gdstk.Reference(m1_routings6, (28.965,3.39)))
ota_telescopic_cmfb.add(gdstk.Reference(pmos_1, (23.48,6.82)))
ota_telescopic_cmfb.add(gdstk.Reference(pmos_1, (13.26,5.175)))
ota_telescopic_cmfb.add(gdstk.Reference(pmos_1, (18.37,5.175)))
ota_telescopic_cmfb.add(gdstk.Reference(pmos_1, (13.26,6.82)))
ota_telescopic_cmfb.add(gdstk.Reference(pmos_1, (18.37,6.82)))
ota_telescopic_cmfb.add(gdstk.Reference(via_stack, (49.57,8.73)))
ota_telescopic_cmfb.add(gdstk.Reference(via_stack, (39.35,9.325)))
ota_telescopic_cmfb.add(gdstk.Reference(pmos_1, (39.47,5.175)))
ota_telescopic_cmfb.add(gdstk.Reference(pmos_1, (49.69,5.175)))
ota_telescopic_cmfb.add(gdstk.Reference(pmos_1, (44.58,5.175)))
ota_telescopic_cmfb.add(gdstk.Reference(via_stack_2, (37.08,3.59)))
ota_telescopic_cmfb.add(gdstk.Reference(via_stack_4, (44.73,4.55)))
ota_telescopic_cmfb.add(gdstk.Reference(m1_routings4, (44.723,6.475)))
ota_telescopic_cmfb.add(gdstk.Reference(m1_routings5, (45.453,6.665)))
ota_telescopic_cmfb.add(gdstk.Reference(m1_routings4, (34.503,6.475)))
ota_telescopic_cmfb.add(gdstk.Reference(m1_routings5, (35.233,6.665)))
ota_telescopic_cmfb.add(gdstk.Reference(m1_routings6, (34.765,3.39)))
ota_telescopic_cmfb.add(gdstk.Reference(pmos_1, (49.69,6.82)))
ota_telescopic_cmfb.add(gdstk.Reference(pmos_1, (44.58,6.82)))
ota_telescopic_cmfb.add(gdstk.Reference(pmos_1, (39.47,6.82)))
ota_telescopic_cmfb.add(gdstk.Label('VSS', (34.18,-0.445), layer=30, texttype=25))
ota_telescopic_cmfb.add(gdstk.Label('VINP', (13.92,4.55), layer=30, texttype=25))
ota_telescopic_cmfb.add(gdstk.Label('VINN', (24.14,4.55), layer=30, texttype=25))
ota_telescopic_cmfb.add(gdstk.Label('CMFB', (31.28,4.25), layer=30, texttype=25))
ota_telescopic_cmfb.add(gdstk.Label('VREF', (44.73,4.55), layer=30, texttype=25))
ota_telescopic_cmfb.add(gdstk.Label('VDD', (34.18,18.035), layer=30, texttype=25))
ota_telescopic_cmfb.add(gdstk.Label('IBIAS', (34.18,19.605), layer=30, texttype=25))

cmfb = lib.new_cell('CMFB')
cmfb.add(gdstk.Reference(ota_telescopic_cmfb, (0,0)))

ota_telescopic_top_wp = lib.new_cell('OTA_Telescopic_TOP_wp')
ota_telescopic_top_wp.add(gdstk.Reference(ota_fb, (29.38,26.205)))
ota_telescopic_top_wp.add(gdstk.Reference(cmfb, (30.025,16.15)))

lib.write_gds('OTA_Telescopic_TOP_wp.gds')
